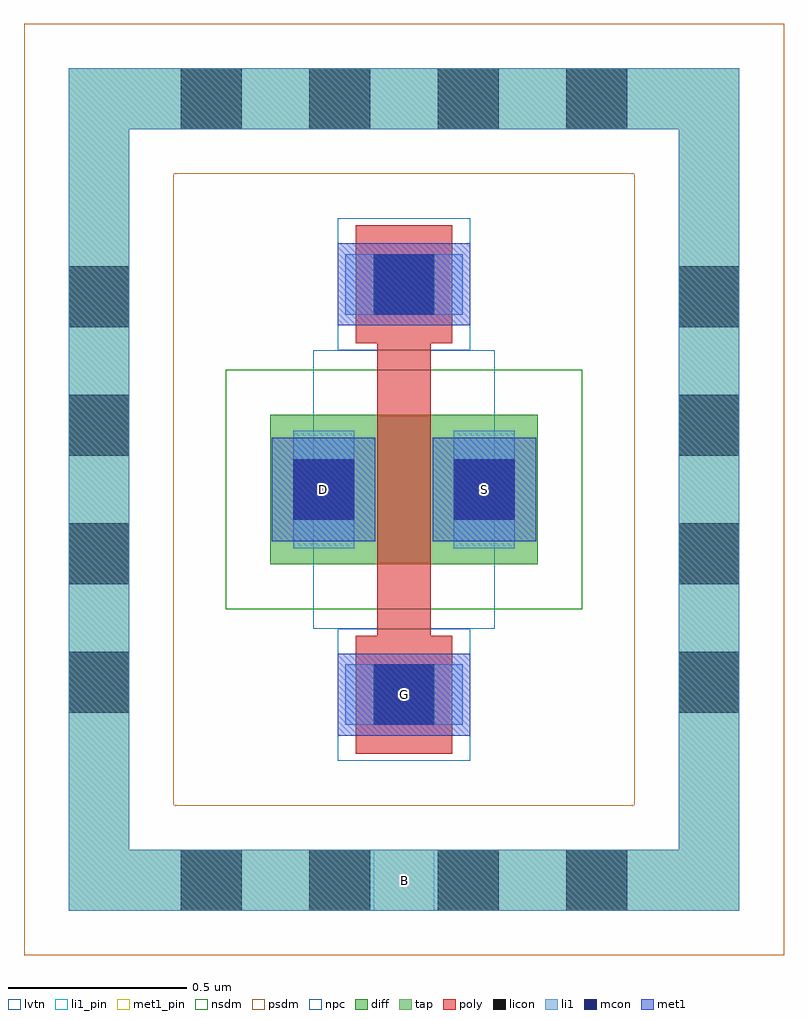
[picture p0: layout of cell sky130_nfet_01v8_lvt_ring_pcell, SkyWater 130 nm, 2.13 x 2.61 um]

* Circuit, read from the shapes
.subckt sky130_nfet_01v8_lvt_ring_pcell B D G S
XM1 S G D B sky130_fd_pr__nfet_01v8_lvt w=0.42 l=0.15
.ends

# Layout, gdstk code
import gdstk
lib = gdstk.Library(unit=1e-6, precision=1e-09)
def R(c, l, rs):  # rectangles x0, y0, x1, y1
    for r in rs: c.add(gdstk.rectangle(r[:2], r[2:], *l))
def A(c, l, x, y, w, h, nx, ny, dx, dy):  # array of equal rectangles
    R(c, l, [(x+i*dx, y+j*dy, x+i*dx+w, y+j*dy+h) for i in range(nx) for j in range(ny)])
def P(c, l, *ps):  # polygons
    for p in ps: c.add(gdstk.Polygon(p, *l))
diff = (65, 20)
tap = (65, 44)
poly = (66, 20)
licon = (66, 44)
li1_pin = (67, 16)
li1 = (67, 20)
mcon = (67, 44)
met1_pin = (68, 16)
met1 = (68, 20)
nsdm = (93, 44)
psdm = (94, 20)
npc = (95, 20)
lvtn = (125, 44)

nfet = lib.new_cell('nfet')
R(nfet, diff, [(0,0,0.75,0.42)])
R(nfet, poly, [(0.24,-0.53,0.51,-0.2), (0.3,-0.2,0.45,0.62), (0.24,0.62,0.51,0.95)])
R(nfet, licon, [(0.29,-0.45,0.46,-0.28), (0.065,0.125,0.235,0.295), (0.515,0.125,0.685,0.295), (0.29,0.7,0.46,0.87)])
R(nfet, li1, [(0.21,-0.45,0.54,-0.28), (0.065,0.045,0.235,0.375), (0.515,0.045,0.685,0.375), (0.21,0.7,0.54,0.87)])
R(nfet, mcon, [(0.29,-0.45,0.46,-0.28), (0.065,0.125,0.235,0.295), (0.515,0.125,0.685,0.295), (0.29,0.7,0.46,0.87)])
R(nfet, met1, [(0.19,-0.48,0.56,-0.25), (0.005,0.065,0.295,0.355), (0.455,0.065,0.745,0.355), (0.19,0.67,0.56,0.9)])
R(nfet, nsdm, [(-0.125,-0.125,0.875,0.545)])
R(nfet, npc, [(0.23,-0.54,0.52,-0.19), (0.23,0.61,0.52,0.96)])
R(nfet, lvtn, [(0.12,-0.18,0.63,0.6)])

guard_ring_gen = lib.new_cell('guard_ring_gen')
P(guard_ring_gen, tap, [(-0.17,-0.17),(-0.17,2.02),(0,2.02),(0,0),(1.54,0),(1.54,2.02),(-0.17,2.02),(-0.17,2.19),(1.71,2.19),(1.71,-0.17)])
A(guard_ring_gen, licon, 0.145, -0.17, 0.17, 0.17, 4, 2, 0.36, 2.19)
A(guard_ring_gen, licon, -0.17, 0.385, 0.17, 0.17, 1, 4, 0, 0.36)
A(guard_ring_gen, licon, 1.54, 0.385, 0.17, 0.17, 1, 4, 0, 0.36)
P(guard_ring_gen, li1, [(-0.17,-0.17),(-0.17,2.02),(0,2.02),(0,0),(1.54,0),(1.54,2.02),(-0.17,2.02),(-0.17,2.19),(1.71,2.19),(1.71,-0.17)])
P(guard_ring_gen, psdm, [(-0.295,-0.295),(-0.295,1.895),(0.125,1.895),(0.125,0.125),(1.415,0.125),(1.415,1.895),(-0.295,1.895),(-0.295,2.315),(1.835,2.315),(1.835,-0.295)])

sky130_nfet_01v8_lvt_rin = lib.new_cell('sky130_nfet_01v8_lvt_ring_pcell')
R(sky130_nfet_01v8_lvt_rin, li1_pin, [(0.29,-0.97,0.46,-0.8)])
R(sky130_nfet_01v8_lvt_rin, met1_pin, [(0.29,-0.45,0.46,-0.28), (0.065,0.125,0.235,0.295), (0.515,0.125,0.685,0.295)])
R(sky130_nfet_01v8_lvt_rin, npc, [(0.19,-0.55,0.56,-0.18), (0.19,0.6,0.56,0.97)])
sky130_nfet_01v8_lvt_rin.add(gdstk.Reference(nfet, (0,0)))
sky130_nfet_01v8_lvt_rin.add(gdstk.Reference(guard_ring_gen, (-0.395,-0.8)))
sky130_nfet_01v8_lvt_rin.add(gdstk.Label('D', (0.15,0.21), layer=68, texttype=5))
sky130_nfet_01v8_lvt_rin.add(gdstk.Label('S', (0.6,0.21), layer=68, texttype=5))
sky130_nfet_01v8_lvt_rin.add(gdstk.Label('G', (0.375,-0.365), layer=68, texttype=5))
sky130_nfet_01v8_lvt_rin.add(gdstk.Label('B', (0.375,-0.885), layer=67, texttype=5))

lib.write_gds('sky130_nfet_01v8_lvt_ring_pcell.gds')
